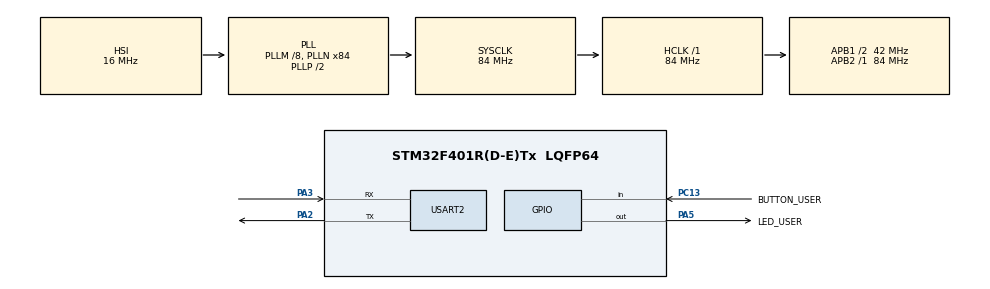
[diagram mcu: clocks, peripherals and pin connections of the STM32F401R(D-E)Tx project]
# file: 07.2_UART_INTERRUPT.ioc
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Mcu.Family=STM32F4
Mcu.Name=STM32F401R(D-E)Tx
Mcu.Package=LQFP64
NVIC.PriorityGroup=NVIC_PRIORITYGROUP_4
NVIC.USART2_IRQn=true\:0\:0\:false\:false\:true\:true\:true\:true
PA2.Mode=Asynchronous
PA2.Signal=USART2_TX
PA3.Mode=Asynchronous
PA3.Signal=USART2_RX
PA5.GPIO_Label=LED_USER
PA5.Signal=GPIO_Output
PC13-ANTI_TAMP.GPIO_Label=BUTTON_USER
PC13-ANTI_TAMP.Signal=GPIO_Input
ProjectManager.HeapSize=0x200
ProjectManager.StackSize=0x400
ProjectManager.TargetToolchain=STM32CubeIDE
RCC.48MHZClocksFreq_Value=42000000
RCC.AHBFreq_Value=84000000
RCC.APB1CLKDivider=RCC_HCLK_DIV2
RCC.APB1Freq_Value=42000000
RCC.APB1TimFreq_Value=84000000
RCC.APB2Freq_Value=84000000
RCC.APB2TimFreq_Value=84000000
RCC.CortexFreq_Value=84000000
RCC.HCLKFreq_Value=84000000
RCC.HSE_VALUE=25000000
RCC.HSI_VALUE=16000000
RCC.LSE_VALUE=32768
RCC.PLLM=8
RCC.PLLN=84
RCC.SYSCLKFreq_VALUE=84000000
RCC.SYSCLKSource=RCC_SYSCLKSOURCE_PLLCLK
RCC.VCOOutputFreq_Value=168000000
USART2.VirtualMode=VM_ASYNC
board=custom

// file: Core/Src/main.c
/* USER CODE BEGIN Header */
/**
  ******************************************************************************
  * @file           : main.c
  * @brief          : Main program body
  ******************************************************************************
  * @attention
  *
  * Copyright (c) 2023 STMicroelectronics.
  * All rights reserved.
  *
  * This software is licensed under terms that can be found in the LICENSE file
  * in the root directory of this software component.
  * If no LICENSE file comes with this software, it is provided AS-IS.
  *
  ******************************************************************************
  */
/* USER CODE END Header */
#include "main.h"

/* USER CODE BEGIN Includes */
#include <stdio.h>
#include <stdbool.h>
#include <string.h>
#include <stdlib.h>
/* USER CODE END Includes */

/* USER CODE BEGIN PD */
#define PROMPT "\n\rSeleccione una opcion:\n\r\t1. Toogle LED\n\r\t2. Leer BOTON\n\r\t3. Volver a leer el mensaje"
#define MENU  "\n\rHOLA STM32:\n\r"
/* USER CODE END PD */

UART_HandleTypeDef huart2;

/* USER CODE BEGIN PV */
uint8_t UartReady = 0;
volatile uint8_t data;
char read_value[1];
/* USER CODE END PV */

void SystemClock_Config(void);
static void MX_GPIO_Init(void);
static void MX_USART2_UART_Init(void);
/* USER CODE BEGIN PFP */
uint8_t proccesMenssage(uint8_t data);
void printMenssageInit(void);
int8_t readMessageUART(void);
void criticalTask(void);

/* USER CODE END PFP */

int main(void)
{

  /* MCU Configuration--------------------------------------------------------*/

  /* Reset of all peripherals, Initializes the Flash interface and the Systick. */
  HAL_Init();

  /* Configure the system clock */
  SystemClock_Config();

  /* Initialize all configured peripherals */
  MX_GPIO_Init();
  MX_USART2_UART_Init();
  /* USER CODE BEGIN 2 */
  //HAL_NVIC_SetPriority(USART2_IRQn,0,0);
  //HAL_NVIC_EnableIRQ(USART2_IRQn);
  HAL_UART_Receive_IT(&huart2, (uint8_t*)read_value, 1);
  /* USER CODE END 2 */

  /* Infinite loop */
  /* USER CODE BEGIN WHILE */
  printMensaje:
  printMenssageInit();

  while (1)
  {

	  data = readMessageUART();

	  if(data > 0){
		 proccesMenssage(data);
	     if(data == 2)
	    	 goto printMensaje;
	  }
	  criticalTask();

    /* USER CODE END WHILE */

  }
}

void SystemClock_Config(void)
{
  RCC_OscInitTypeDef RCC_OscInitStruct = {0};
  RCC_ClkInitTypeDef RCC_ClkInitStruct = {0};

  /** Configure the main internal regulator output voltage
  */
  __HAL_RCC_PWR_CLK_ENABLE();
  __HAL_PWR_VOLTAGESCALING_CONFIG(PWR_REGULATOR_VOLTAGE_SCALE2);

  /** Initializes the RCC Oscillators according to the specified parameters
  * in the RCC_OscInitTypeDef structure.
  */
  RCC_OscInitStruct.OscillatorType = RCC_OSCILLATORTYPE_HSI;
  RCC_OscInitStruct.HSIState = RCC_HSI_ON;
  RCC_OscInitStruct.HSICalibrationValue = RCC_HSICALIBRATION_DEFAULT;
  RCC_OscInitStruct.PLL.PLLState = RCC_PLL_ON;
  RCC_OscInitStruct.PLL.PLLSource = RCC_PLLSOURCE_HSI;
  RCC_OscInitStruct.PLL.PLLM = 8;
  RCC_OscInitStruct.PLL.PLLN = 84;
  RCC_OscInitStruct.PLL.PLLP = RCC_PLLP_DIV2;
  RCC_OscInitStruct.PLL.PLLQ = 4;
  if (HAL_RCC_OscConfig(&RCC_OscInitStruct) != HAL_OK)
  {
    Error_Handler();
  }

  /** Initializes the CPU, AHB and APB buses clocks
  */
  RCC_ClkInitStruct.ClockType = RCC_CLOCKTYPE_HCLK|RCC_CLOCKTYPE_SYSCLK
                              |RCC_CLOCKTYPE_PCLK1|RCC_CLOCKTYPE_PCLK2;
  RCC_ClkInitStruct.SYSCLKSource = RCC_SYSCLKSOURCE_PLLCLK;
  RCC_ClkInitStruct.AHBCLKDivider = RCC_SYSCLK_DIV1;
  RCC_ClkInitStruct.APB1CLKDivider = RCC_HCLK_DIV2;
  RCC_ClkInitStruct.APB2CLKDivider = RCC_HCLK_DIV1;

  if (HAL_RCC_ClockConfig(&RCC_ClkInitStruct, FLASH_LATENCY_2) != HAL_OK)
  {
    Error_Handler();
  }
}

static void MX_USART2_UART_Init(void)
{

  huart2.Instance = USART2;
  huart2.Init.BaudRate = 115200;
  huart2.Init.WordLength = UART_WORDLENGTH_8B;
  huart2.Init.StopBits = UART_STOPBITS_1;
  huart2.Init.Parity = UART_PARITY_NONE;
  huart2.Init.Mode = UART_MODE_TX_RX;
  huart2.Init.HwFlowCtl = UART_HWCONTROL_NONE;
  huart2.Init.OverSampling = UART_OVERSAMPLING_16;
  if (HAL_UART_Init(&huart2) != HAL_OK)
  {
    Error_Handler();
  }

}

static void MX_GPIO_Init(void)
{
  GPIO_InitTypeDef GPIO_InitStruct = {0};

  /* GPIO Ports Clock Enable */
  __HAL_RCC_GPIOC_CLK_ENABLE();
  __HAL_RCC_GPIOA_CLK_ENABLE();

  /*Configure GPIO pin Output Level */
  HAL_GPIO_WritePin(LED_USER_GPIO_Port, LED_USER_Pin, GPIO_PIN_RESET);

  /*Configure GPIO pin : BUTTON_USER_Pin */
  GPIO_InitStruct.Pin = BUTTON_USER_Pin;
  GPIO_InitStruct.Mode = GPIO_MODE_INPUT;
  GPIO_InitStruct.Pull = GPIO_NOPULL;
  HAL_GPIO_Init(BUTTON_USER_GPIO_Port, &GPIO_InitStruct);

  /*Configure GPIO pin : LED_USER_Pin */
  GPIO_InitStruct.Pin = LED_USER_Pin;
  GPIO_InitStruct.Mode = GPIO_MODE_OUTPUT_PP;
  GPIO_InitStruct.Pull = GPIO_NOPULL;
  GPIO_InitStruct.Speed = GPIO_SPEED_FREQ_LOW;
  HAL_GPIO_Init(LED_USER_GPIO_Port, &GPIO_InitStruct);

}

/* USER CODE BEGIN 4 */

void printMenssageInit(void)
{
char *string[]={"HOLA STM32\n\r",PROMPT,MENU};
	for(uint8_t i=0;i<3;i++)
	{
		HAL_UART_Transmit_IT(&huart2, (uint8_t *)string[i], strlen(string[i]));

		while(HAL_UART_GetState(&huart2)== HAL_UART_STATE_BUSY_TX ||
				HAL_UART_GetState(&huart2)==HAL_UART_STATE_BUSY_RX);
	}
	 HAL_Delay(3000);
}

int8_t readMessageUART(void)
{
	 int8_t valor= -1;

	 if(UartReady == SET)
	 {
		 UartReady = RESET;
		 HAL_UART_Receive_IT(&huart2, (uint8_t*)read_value, 1);
		 valor = atoi(read_value);
	 }
	 return valor;
}

uint8_t proccesMenssage(uint8_t dt)
{
	char msg[30];

	if(!dt || dt > 3)
		return 0;

	sprintf(msg,"%d",dt);

	switch(dt)
	{
	case 1:
		HAL_GPIO_TogglePin(LED_USER_GPIO_Port, LED_USER_Pin);
		break;
	case 2:
		sprintf(msg,"\r\nUSER BUTTON STATUS: %s",HAL_GPIO_ReadPin(BUTTON_USER_GPIO_Port, BUTTON_USER_Pin)== GPIO_PIN_RESET ? "PRESIONADO" : "LIBERADO");
		HAL_UART_Transmit(&huart2,(uint8_t *)msg, strlen(msg),HAL_MAX_DELAY);
		break;
	case 3:
			return 2;
	}

	HAL_UART_Transmit_IT(&huart2,(uint8_t *)PROMPT, strlen(PROMPT));
	while(HAL_UART_GetState(&huart2)== HAL_UART_STATE_BUSY_TX ||
					HAL_UART_GetState(&huart2)==HAL_UART_STATE_BUSY_RX);
	return 1;
}

void criticalTask(void){
	//tareas criticas que debe atender el CPU
}

void HAL_UART_RxCpltCallback(UART_HandleTypeDef *huart)
{
	UartReady = SET;
	HAL_UART_Receive_IT(&huart2, (uint8_t*)read_value, 1);
}

void HAL_UART_TxCpltCallback(UART_HandleTypeDef *huart)
{
	//cada vez que se termina de enviar un dato por usart se genera una interrupcion
	HAL_GPIO_TogglePin(LED_USER_GPIO_Port, LED_USER_Pin);
}
/* USER CODE END 4 */

void Error_Handler(void)
{
  __disable_irq();
  while (1)
  {
  }
}
